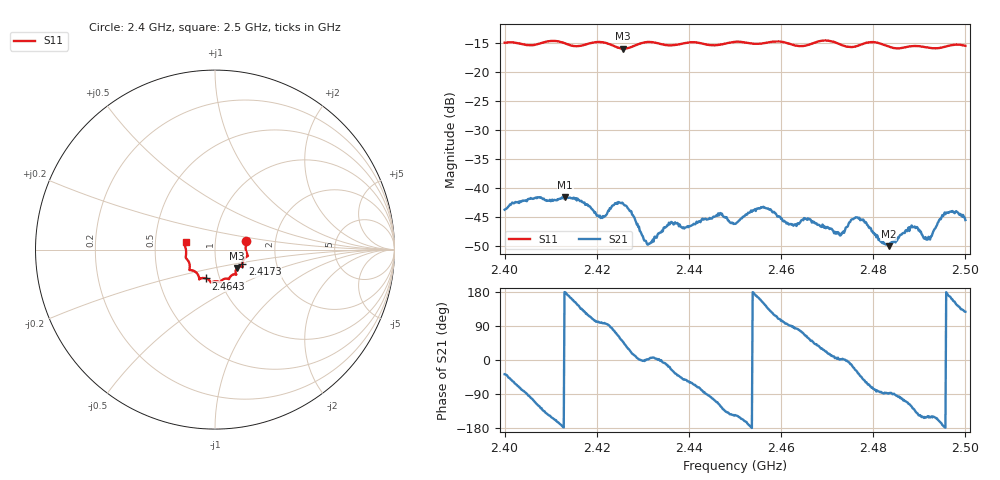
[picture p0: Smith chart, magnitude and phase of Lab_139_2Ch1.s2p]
# Hz S RI R 50
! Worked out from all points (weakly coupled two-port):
!   601 points, 2.4 GHz to 2.5 GHz, reference 50 ohm
!   highest |S21| = -41.52 dB at 2.4132 GHz (marker M1); lowest = -50.0 dB at 2.4833 GHz (marker M2)
!   lowest |S11| = -15.9 dB at 2.4257 GHz (marker M3), VSWR 1.38, Z = 62.5 - j13.2 ohm
!   |S11| at or under -10 dB: start of sweep to end of sweep
!   S12 and S22 are empty: the file has one direction only
!   S11 on the Smith chart (normalised r, x): 2.4 GHz: 1.41, +0.14; 2.4173 GHz: 1.34, -0.23; 2.4643 GHz: 0.86, -0.29; 2.5 GHz: 0.72, +0.06
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2.4e9  0.1732 0.0489  0.00516 -0.00397  0 0  0 0
2.413167e9  0.1725 -0.0419  -0.00839 0.0002  0 0  0 0
2.416667e9  0.153 -0.0741  -0.00555 0.00546  0 0  0 0
2.417333e9  0.1522 -0.0817  -0.00462 0.00592  0 0  0 0
2.421e9  0.1542 -0.0971  -0.000913 0.00556  0 0  0 0
2.425667e9  0.1228 -0.1026  0.00492 0.00554  0 0  0 0
2.430667e9  0.1184 -0.1383  0.0035 -1.34e-05  0 0  0 0
2.433333e9  0.1128 -0.1374  0.00406 2.74e-05  0 0  0 0
2.436e9  0.0941 -0.1429  0.00461 -0.00196  0 0  0 0
2.439e9  0.08 -0.1594  0.00282 -0.00348  0 0  0 0
2.446667e9  0.0427 -0.1676  -0.00293 -0.00528  0 0  0 0
2.45e9  0.0287 -0.1812  -0.00403 -0.0028  0 0  0 0
2.456e9  -0.0069 -0.1776  -0.00605 0.00318  0 0  0 0
2.464333e9  -0.0496 -0.1608  0.00128 0.00508  0 0  0 0
2.466667e9  -0.076 -0.1595  0.00317 0.00392  0 0  0 0
2.473167e9  -0.0922 -0.1453  0.00411 0.000117  0 0  0 0
2.4765e9  -0.1217 -0.1169  0.0048 -0.00286  0 0  0 0
2.483333e9  -0.1406 -0.0899  6.32e-05 -0.00315  0 0  0 0
2.4885e9  -0.1616 -0.0479  -0.00272 -0.0037  0 0  0 0
2.492e9  -0.161 -0.0258  -0.00334 -0.00181  0 0  0 0
2.496e9  -0.1668 0.0195  -0.00611 0.000437  0 0  0 0
2.5e9  -0.1638 0.043  -0.00321 0.00422  0 0  0 0
